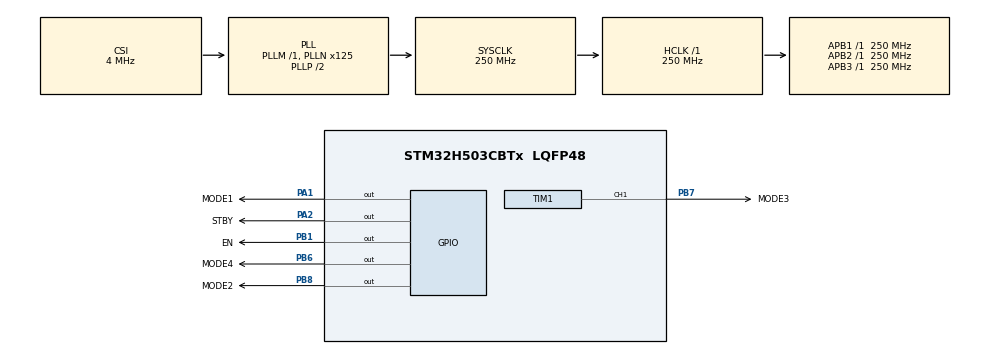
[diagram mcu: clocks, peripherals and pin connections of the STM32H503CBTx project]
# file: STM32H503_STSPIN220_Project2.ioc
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BOOTPATH.BootPathName=LEGACY
BOOTPATH.UserSelectedBootPath=LEGACY
Mcu.Family=STM32H5
Mcu.Name=STM32H503CBTx
Mcu.Package=LQFP48
NVIC.PriorityGroup=NVIC_PRIORITYGROUP_4
NVIC.TIM1_CC_IRQn=true\:0\:0\:false\:false\:true\:true\:true\:true
PA1.GPIO_Label=MODE1
PA1.Signal=GPIO_Output
PA2.GPIO_Label=STBY
PA2.Signal=GPIO_Output
PB1.GPIO_Label=EN
PB1.Signal=GPIO_Output
PB6.GPIO_Label=MODE4
PB6.Signal=GPIO_Output
PB7.GPIO_Label=MODE3
PB7.Signal=S_TIM1_CH1
PB8.GPIO_Label=MODE2
PB8.Signal=GPIO_Output
ProjectManager.HeapSize=0x2000
ProjectManager.StackSize=0x4000
ProjectManager.TargetToolchain=MDK-ARM V5.37
RCC.ADCFreq_Value=250000000
RCC.AHBFreq_Value=250000000
RCC.APB1Freq_Value=250000000
RCC.APB1TimFreq_Value=250000000
RCC.APB2Freq_Value=250000000
RCC.APB2TimFreq_Value=250000000
RCC.APB3Freq_Value=250000000
RCC.CSI_VALUE=4000000
RCC.CortexFreq_Value=250000000
RCC.EPOD_VALUE=4000000
RCC.HCLKFreq_Value=250000000
RCC.HSE_VALUE=25000000
RCC.HSI48_VALUE=48000000
RCC.HSI_VALUE=64000000
RCC.LSE_VALUE=32768
RCC.LSIRC_VALUE=32000
RCC.PLL2FRACN=0
RCC.PLLFRACN=0
RCC.PLLN=125
RCC.SYSCLKFreq_VALUE=250000000
RCC.SYSCLKSource=RCC_SYSCLKSOURCE_PLLCLK
RCC.USBFreq_Value=48000000
RCC.VCOOutputFreq_Value=500000000
SH.S_TIM1_CH1.0=TIM1_CH1,PWM Generation1 CH1
TIM1.Channel-PWM\ Generation1\ CH1=TIM_CHANNEL_1
TIM1.PeriodNoDither=1000-1
TIM1.Prescaler=250-1
TIM1.PulseNoDither_1=500-1
VP_BOOTPATH_VS_BOOTPATH.Mode=BP_Activate
VP_CORTEX_M33_NS_VS_Hclk.Mode=Hclk_Mode
VP_MEMORYMAP_VS_MEMORYMAP.Mode=CurAppReg
VP_PWR_VS_LPOM.Mode=PowerOptimisation
VP_PWR_VS_SECSignals.Mode=Security/Privilege
VP_TIM1_VS_ClockSourceINT.Mode=Internal
board=custom

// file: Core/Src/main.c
/* USER CODE BEGIN Header */
/**
  ******************************************************************************
  * @file           : main.c
  * @brief          : Main program body
  ******************************************************************************
  * @attention
  *
  * Copyright (c) 2025 STMicroelectronics.
  * All rights reserved.
  *
  * This software is licensed under terms that can be found in the LICENSE file
  * in the root directory of this software component.
  * If no LICENSE file comes with this software, it is provided AS-IS.
  *
  ******************************************************************************
  */
/* USER CODE END Header */
#include "main.h"
#include "tim.h"
#include "gpio.h"

/* USER CODE BEGIN Includes */
#include "STSPIN220.h"
/* USER CODE END Includes */

void SystemClock_Config(void);

/* USER CODE BEGIN 0 */
// 初始化 MODE3 引脚（即 STCK），用作步进脉冲输出
void MX_GPIO_Init_mode3(void);

uint16_t STSPIN220_PwmNum;      // 控制电机旋转步数（PWM脉冲数量）
uint8_t	STSPIN220_flag = 0;     // PWM计数完成标志
uint8_t	STSPIN220_Dir_flag = 0; // 电机方向标志：0反向，1正向
/* USER CODE END 0 */

int main(void)
{

  /* MCU Configuration--------------------------------------------------------*/

  /* Reset of all peripherals, Initializes the Flash interface and the Systick. */
  HAL_Init();

  /* Configure the system clock */
  SystemClock_Config();

  /* Initialize all configured peripherals */
  MX_GPIO_Init();
//  MX_TIM1_Init();
  /* USER CODE BEGIN 2 */
	MX_GPIO_Init_mode3();       // 初始化 STCK 引脚为推挽输出
	HAL_Delay(100);

	STSPIN220_SetStepMode(0);  // 设置为全步进模式（MODE1~4 = 0）
	STSPIN220_enable(0);       // 禁用驱动器（EN 引脚拉低）
	STSPIN220_Stby(1);         // 进入低功耗待机模式（STBY 引脚拉低）
	HAL_Delay(100);

	STSPIN220_SetStepMode(2);  // 设置为 1/2 步进模式
	STSPIN220_Stby(0);         // 退出低功耗待机，步进模式正式生效
	HAL_Delay(100);            // 等待电平稳定
	STSPIN220_setDirection(0); // 设置电机方向为反向（MODE4 拉低）
	HAL_Delay(100);            // 等待方向稳定
	STSPIN220_enable(1);       // 启用驱动器（EN 引脚拉高）
	HAL_Delay(100);

	// 设置脉冲数：一圈360°，步进角为18°，1:50的减速比，细分数2
	// 因此需要的脉冲数为 (360/18) * 50 * 2 = 2000
	STSPIN220_PwmNum = 2000 ;

  MX_TIM1_Init();  // 初始化 TIM1 定时器用于输出 PWM 步进脉冲
	HAL_TIM_PWM_Start_IT(&htim1, TIM_CHANNEL_1); // 启动 TIM1 通道1，PWM带中断

  /* USER CODE END 2 */

  /* Infinite loop */
  /* USER CODE BEGIN WHILE */
  while (1)
  {
		if(STSPIN220_flag)
		{
				HAL_Delay(1000);
//				STSPIN220_Stby(1);//低功耗模式 1开启低功耗0关闭低功耗
				STSPIN220_flag=0;
				if(STSPIN220_Dir_flag==0)
				{
					STSPIN220_Dir_flag=1;
					STSPIN220_setDirection(1);//0反1正
					HAL_Delay(100);
					STSPIN220_PwmNum = 2000;//步进角为18°，1:50的减速比,细分2则需要走(360/18)*50*2为一圈
					HAL_TIM_PWM_Start_IT(&htim1,TIM_CHANNEL_1);
				}
				else
				{

					STSPIN220_Dir_flag=0;
					STSPIN220_setDirection(0);//0反1正
					HAL_Delay(100);
					STSPIN220_PwmNum = 2000;//步进角为18°，1:50的减速比,细分2则需要走(360/18)*50*2为一圈
					HAL_TIM_PWM_Start_IT(&htim1,TIM_CHANNEL_1);
			}
		}
		HAL_Delay(10);

    /* USER CODE END WHILE */

  }
}

void SystemClock_Config(void)
{
  RCC_OscInitTypeDef RCC_OscInitStruct = {0};
  RCC_ClkInitTypeDef RCC_ClkInitStruct = {0};

  /** Configure the main internal regulator output voltage
  */
  __HAL_PWR_VOLTAGESCALING_CONFIG(PWR_REGULATOR_VOLTAGE_SCALE0);

  while(!__HAL_PWR_GET_FLAG(PWR_FLAG_VOSRDY)) {}

  /** Initializes the RCC Oscillators according to the specified parameters
  * in the RCC_OscInitTypeDef structure.
  */
  RCC_OscInitStruct.OscillatorType = RCC_OSCILLATORTYPE_CSI;
  RCC_OscInitStruct.CSIState = RCC_CSI_ON;
  RCC_OscInitStruct.CSICalibrationValue = RCC_CSICALIBRATION_DEFAULT;
  RCC_OscInitStruct.PLL.PLLState = RCC_PLL_ON;
  RCC_OscInitStruct.PLL.PLLSource = RCC_PLL1_SOURCE_CSI;
  RCC_OscInitStruct.PLL.PLLM = 1;
  RCC_OscInitStruct.PLL.PLLN = 125;
  RCC_OscInitStruct.PLL.PLLP = 2;
  RCC_OscInitStruct.PLL.PLLQ = 2;
  RCC_OscInitStruct.PLL.PLLR = 2;
  RCC_OscInitStruct.PLL.PLLRGE = RCC_PLL1_VCIRANGE_2;
  RCC_OscInitStruct.PLL.PLLVCOSEL = RCC_PLL1_VCORANGE_WIDE;
  RCC_OscInitStruct.PLL.PLLFRACN = 0;
  if (HAL_RCC_OscConfig(&RCC_OscInitStruct) != HAL_OK)
  {
    Error_Handler();
  }

  /** Initializes the CPU, AHB and APB buses clocks
  */
  RCC_ClkInitStruct.ClockType = RCC_CLOCKTYPE_HCLK|RCC_CLOCKTYPE_SYSCLK
                              |RCC_CLOCKTYPE_PCLK1|RCC_CLOCKTYPE_PCLK2
                              |RCC_CLOCKTYPE_PCLK3;
  RCC_ClkInitStruct.SYSCLKSource = RCC_SYSCLKSOURCE_PLLCLK;
  RCC_ClkInitStruct.AHBCLKDivider = RCC_SYSCLK_DIV1;
  RCC_ClkInitStruct.APB1CLKDivider = RCC_HCLK_DIV1;
  RCC_ClkInitStruct.APB2CLKDivider = RCC_HCLK_DIV1;
  RCC_ClkInitStruct.APB3CLKDivider = RCC_HCLK_DIV1;

  if (HAL_RCC_ClockConfig(&RCC_ClkInitStruct, FLASH_LATENCY_5) != HAL_OK)
  {
    Error_Handler();
  }

  /** Configure the programming delay
  */
  __HAL_FLASH_SET_PROGRAM_DELAY(FLASH_PROGRAMMING_DELAY_2);
}

/* USER CODE BEGIN 4 */
void MX_GPIO_Init_mode3(void)
{

  GPIO_InitTypeDef GPIO_InitStruct = {0};

  /* GPIO Ports Clock Enable */
  __HAL_RCC_GPIOA_CLK_ENABLE();

  /*Configure GPIO pin Output Level */
  HAL_GPIO_WritePin(MODE3_GPIO_Port, MODE3_Pin, GPIO_PIN_RESET);

  /*Configure GPIO pins : PAPin PAPin PAPin PAPin
                           PAPin */
  GPIO_InitStruct.Pin = MODE3_Pin;
  GPIO_InitStruct.Mode = GPIO_MODE_OUTPUT_PP;
  GPIO_InitStruct.Pull = GPIO_NOPULL;
  GPIO_InitStruct.Speed = GPIO_SPEED_FREQ_LOW;
  HAL_GPIO_Init(MODE3_GPIO_Port, &GPIO_InitStruct);

}

void HAL_TIM_PWM_PulseFinishedCallback(TIM_HandleTypeDef *htim)
{
	 if(STSPIN220_PwmNum==0)
	 {
			HAL_TIM_PWM_Stop_IT(&htim1,TIM_CHANNEL_1);
			STSPIN220_flag=1;//电机完成步数标志位
	 }
	STSPIN220_PwmNum--;
}

/* USER CODE END 4 */

void Error_Handler(void)
{
  __disable_irq();
  while (1)
  {
  }
}
